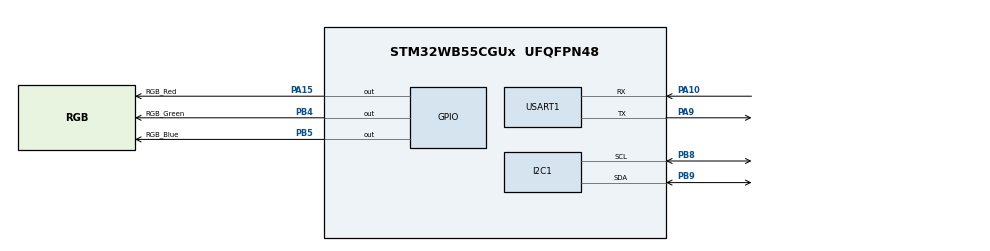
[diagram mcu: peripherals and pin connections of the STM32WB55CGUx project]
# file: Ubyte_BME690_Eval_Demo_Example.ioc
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I2C1.Timing=0x00100D14
Mcu.Family=STM32WB
Mcu.Name=STM32WB55CGUx
Mcu.Package=UFQFPN48
NVIC.PriorityGroup=NVIC_PRIORITYGROUP_4
PA10.Mode=Asynchronous
PA10.Signal=USART1_RX
PA15.GPIO_Label=RGB_Red
PA15.Signal=GPIO_Output
PA9.Mode=Asynchronous
PA9.Signal=USART1_TX
PB4.GPIO_Label=RGB_Green
PB4.Signal=GPIO_Output
PB5.GPIO_Label=RGB_Blue
PB5.Signal=GPIO_Output
PB8.Mode=I2C
PB8.Signal=I2C1_SCL
PB9.Mode=I2C
PB9.Signal=I2C1_SDA
ProjectManager.HeapSize=0x200
ProjectManager.StackSize=0x400
ProjectManager.TargetToolchain=STM32CubeIDE
RCC.APB3Freq_Value=16000000
RCC.HSE_VALUE=8000000
RCC.HSI48_VALUE=48000000
RCC.HSI_VALUE=16000000
RCC.LSE_VALUE=32768
RCC.VCOOutputFreq_Value=32000000
USART1.VirtualMode-Asynchronous=VM_ASYNC
VP_MEMORYMAP_VS_MEMORYMAP.Mode=CurAppReg
board=custom

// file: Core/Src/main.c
/* USER CODE BEGIN Header */

//This stamp code is made by Rohit Maurya (Embedded Software Developer at Ubyte Consulting).
//This code demonstrates all the parameters that can be read from the Bosch BME690 Sensor on the Ubyte BME690 Evaluation Board connected to Ubyte STM32WB55CGU6 Development Board

/* USER CODE END Header */
#include "main.h"

/* USER CODE BEGIN Includes */
#include <stdio.h>
#include "bme69x.h"
/* USER CODE END Includes */

I2C_HandleTypeDef hi2c1;

UART_HandleTypeDef huart1;

/* USER CODE BEGIN PV */

// Variables to store readings from the Gas Sensor
float temperature_c;
float humidity_percent;
float pressure_pa;
float pressure_hpa;
float gas_resistance_ohms;
uint32_t gas_valid;
uint32_t heater_stable;

/* USER CODE END PV */

void SystemClock_Config(void);
void PeriphCommonClock_Config(void);
static void MX_GPIO_Init(void);
static void MX_I2C1_Init(void);
static void MX_USART1_UART_Init(void);

/* USER CODE BEGIN 0 */
#ifdef __GNUC__
#define PUTCHAR_PROTOTYPE int __io_putchar(int ch)
#else
#define PUTCHAR_PROTOTYPE int fputc(int ch, FILE *f)
#endif

PUTCHAR_PROTOTYPE {
  HAL_UART_Transmit(&huart1, (uint8_t *)&ch, 1, HAL_MAX_DELAY); // Change huart1 to hlpuart1 if needed
  return ch;
}

// 2. Bosch API I2C Read Wrapper
BME69X_INTF_RET_TYPE bme69x_i2c_read(uint8_t reg_addr, uint8_t *reg_data, uint32_t len, void *intf_ptr) {
    uint8_t dev_addr = *(uint8_t*)intf_ptr;
    // HAL requires the 7-bit address to be shifted left by 1
    if (HAL_I2C_Mem_Read(&hi2c1, (dev_addr << 1), reg_addr, I2C_MEMADD_SIZE_8BIT, reg_data, len, 1000) == HAL_OK) {
        return BME69X_OK;
    }
    return BME69X_E_COM_FAIL;
}

// 3. Bosch API I2C Write Wrapper
BME69X_INTF_RET_TYPE bme69x_i2c_write(uint8_t reg_addr, const uint8_t *reg_data, uint32_t len, void *intf_ptr) {
    uint8_t dev_addr = *(uint8_t*)intf_ptr;
    if (HAL_I2C_Mem_Write(&hi2c1, (dev_addr << 1), reg_addr, I2C_MEMADD_SIZE_8BIT, (uint8_t*)reg_data, len, 1000) == HAL_OK) {
        return BME69X_OK;
    }
    return BME69X_E_COM_FAIL;
}

// 4. Bosch API Delay Wrapper (Converts Microseconds to Milliseconds for HAL)
void bme69x_delay_us(uint32_t period, void *intf_ptr) {
    HAL_Delay((period / 1000) + 1); // Round up to ensure minimum delay is met
}
/* USER CODE END 0 */

int main(void)
{

  /* MCU Configuration--------------------------------------------------------*/

  /* Reset of all peripherals, Initializes the Flash interface and the Systick. */
  HAL_Init();

  /* Configure the system clock */
  SystemClock_Config();

  /* Configure the peripherals common clocks */
  PeriphCommonClock_Config();

  /* Initialize all configured peripherals */
  MX_GPIO_Init();
  MX_I2C1_Init();
  MX_USART1_UART_Init();
  /* USER CODE BEGIN 2 */

  // Setting the Default state of the RGB LED to off
  HAL_GPIO_WritePin(GPIOA, GPIO_PIN_15, 1);
  HAL_GPIO_WritePin(GPIOB, GPIO_PIN_4, 1);
  HAL_GPIO_WritePin(GPIOB, GPIO_PIN_5, 1);

  printf("\r\n--- BME690 Sensor Initialization ---\r\n");

    struct bme69x_dev bme;
    struct bme69x_conf conf;
    struct bme69x_heatr_conf heatr_conf;
    struct bme69x_data data;

    uint8_t dev_addr = BME69X_I2C_ADDR_LOW; // Use BME69X_I2C_ADDR_HIGH (0x77) if SDO is tied to 3.3V
    uint32_t del_period;
    uint8_t n_fields;

    // Link our wrapper functions to the Bosch API
    bme.intf_ptr = &dev_addr;
    bme.intf = BME69X_I2C_INTF;
    bme.read = bme69x_i2c_read;
    bme.write = bme69x_i2c_write;
    bme.delay_us = bme69x_delay_us;
    bme.amb_temp = 25; // Default ambient temp for calibration

    // Initialize the sensor
    int8_t rslt = bme69x_init(&bme);
    if (rslt != BME69X_OK) {
        printf("Failed to initialize BME690. Error code: %d\r\n", rslt);
        HAL_GPIO_WritePin(GPIOA, GPIO_PIN_15, 0); //Turn on the Green LED to indicate that the sensor is initialized successfully
        while(1); // Halt the code. The user needs to reset the controller in order to re-initialize the sensor
    }
    printf("Sensor initialized successfully!\r\n");

    HAL_GPIO_WritePin(GPIOB, GPIO_PIN_4, 0);//Turn on the Red LED to indicate fault

    // Configure Oversampling and Filter settings
    conf.filter = BME69X_FILTER_SIZE_3;
    conf.odr = BME69X_ODR_NONE;
    conf.os_hum = BME69X_OS_2X;
    conf.os_pres = BME69X_OS_4X;
    conf.os_temp = BME69X_OS_8X;
    bme69x_set_conf(&conf, &bme);

    // Configure the Gas Heater (300°C for 100ms is standard for general gas profiling)
    heatr_conf.enable = BME69X_ENABLE;
    heatr_conf.heatr_temp = 300;
    heatr_conf.heatr_dur = 100;
    bme69x_set_heatr_conf(BME69X_FORCED_MODE, &heatr_conf, &bme);
  /* USER CODE END 2 */

  /* Infinite loop */
  while (1)
  {

    /* USER CODE BEGIN 3 */

	    bme69x_set_heatr_conf(BME69X_FORCED_MODE, &heatr_conf, &bme);
	  // 1. Trigger a measurement in Forced Mode
	        rslt = bme69x_set_op_mode(BME69X_FORCED_MODE, &bme);

	        // 2. Calculate measurement time and ADD 10,000 microseconds (10ms) of padding
	        del_period = bme69x_get_meas_dur(BME69X_FORCED_MODE, &conf, &bme) + (heatr_conf.heatr_dur * 1000);
	        bme.delay_us(del_period + 10000, bme.intf_ptr); // The extra 10ms guarantees it finishes

	        // 3. Read the compensated data
	              rslt = bme69x_get_data(BME69X_FORCED_MODE, &data, &n_fields, &bme);

	              if (rslt == BME69X_OK && n_fields > 0) {

	                  // Check if ANY new data (Temp/Press/Hum) is ready (Status 0x80)
	                  if (data.status & BME69X_NEW_DATA_MSK) {

	                	  // Store standard environmental data in variables to read in live expression
	                	  temperature_c = data.temperature;
	                	  humidity_percent = data.humidity;
	                	  pressure_pa = data.pressure;
	                	  pressure_hpa = data.pressure / 100.0f;

	                	  // Print the standard environmental data over UART
	                      printf("Temp: %.2f *C | Press: %.2f hPa | Hum: %.2f %% | ",
	                             data.temperature,
	                             data.pressure / 100.0,
	                             data.humidity);

	                      // Check specifically if the Gas data is also ready
	                      if ((data.status & BME69X_GASM_VALID_MSK) && (data.status & BME69X_HEAT_STAB_MSK)) {

	                    	  // Store heater status and gas resistance status in variables to read in live expression
	                    	  gas_valid = (data.status & BME69X_GASM_VALID_MSK) ? 1 : 0;
	                    	  heater_stable = (data.status & BME69X_HEAT_STAB_MSK) ? 1 : 0;

	                    	  // Store gas resistance data in variables to read in live expression
	                    	  gas_resistance_ohms = data.gas_resistance;

	                    	  // Print the gas resistance data over UART
	                    	  printf("Gas Res: %.2f Ohms\r\n", data.gas_resistance);
	                      } else {
	                          printf("Gas: Heater Disabled / Warming Up\r\n");
	                      }

	                  } else {
	                      printf("Waiting for sensor data...\r\n");
	                  }

	              } else {
	                  printf("Failed to read data. Check I2C wiring!\r\n");
	              }

	        HAL_Delay(2000); // Wait 2 seconds before the next reading
  }
  /* USER CODE END 3 */
}

void SystemClock_Config(void)
{
  RCC_OscInitTypeDef RCC_OscInitStruct = {0};
  RCC_ClkInitTypeDef RCC_ClkInitStruct = {0};

  /** Configure the main internal regulator output voltage
  */
  __HAL_PWR_VOLTAGESCALING_CONFIG(PWR_REGULATOR_VOLTAGE_SCALE1);

  /** Initializes the RCC Oscillators according to the specified parameters
  * in the RCC_OscInitTypeDef structure.
  */
  RCC_OscInitStruct.OscillatorType = RCC_OSCILLATORTYPE_HSI|RCC_OSCILLATORTYPE_MSI;
  RCC_OscInitStruct.HSIState = RCC_HSI_ON;
  RCC_OscInitStruct.MSIState = RCC_MSI_ON;
  RCC_OscInitStruct.HSICalibrationValue = RCC_HSICALIBRATION_DEFAULT;
  RCC_OscInitStruct.MSICalibrationValue = RCC_MSICALIBRATION_DEFAULT;
  RCC_OscInitStruct.MSIClockRange = RCC_MSIRANGE_6;
  RCC_OscInitStruct.PLL.PLLState = RCC_PLL_NONE;
  if (HAL_RCC_OscConfig(&RCC_OscInitStruct) != HAL_OK)
  {
    Error_Handler();
  }

  /** Configure the SYSCLKSource, HCLK, PCLK1 and PCLK2 clocks dividers
  */
  RCC_ClkInitStruct.ClockType = RCC_CLOCKTYPE_HCLK4|RCC_CLOCKTYPE_HCLK2
                              |RCC_CLOCKTYPE_HCLK|RCC_CLOCKTYPE_SYSCLK
                              |RCC_CLOCKTYPE_PCLK1|RCC_CLOCKTYPE_PCLK2;
  RCC_ClkInitStruct.SYSCLKSource = RCC_SYSCLKSOURCE_MSI;
  RCC_ClkInitStruct.AHBCLKDivider = RCC_SYSCLK_DIV1;
  RCC_ClkInitStruct.APB1CLKDivider = RCC_HCLK_DIV1;
  RCC_ClkInitStruct.APB2CLKDivider = RCC_HCLK_DIV1;
  RCC_ClkInitStruct.AHBCLK2Divider = RCC_SYSCLK_DIV1;
  RCC_ClkInitStruct.AHBCLK4Divider = RCC_SYSCLK_DIV1;

  if (HAL_RCC_ClockConfig(&RCC_ClkInitStruct, FLASH_LATENCY_0) != HAL_OK)
  {
    Error_Handler();
  }
}

void PeriphCommonClock_Config(void)
{
  RCC_PeriphCLKInitTypeDef PeriphClkInitStruct = {0};

  /** Initializes the peripherals clock
  */
  PeriphClkInitStruct.PeriphClockSelection = RCC_PERIPHCLK_SMPS;
  PeriphClkInitStruct.SmpsClockSelection = RCC_SMPSCLKSOURCE_HSI;
  PeriphClkInitStruct.SmpsDivSelection = RCC_SMPSCLKDIV_RANGE1;

  if (HAL_RCCEx_PeriphCLKConfig(&PeriphClkInitStruct) != HAL_OK)
  {
    Error_Handler();
  }
}

static void MX_I2C1_Init(void)
{

  hi2c1.Instance = I2C1;
  hi2c1.Init.Timing = 0x00100D14;
  hi2c1.Init.OwnAddress1 = 0;
  hi2c1.Init.AddressingMode = I2C_ADDRESSINGMODE_7BIT;
  hi2c1.Init.DualAddressMode = I2C_DUALADDRESS_DISABLE;
  hi2c1.Init.OwnAddress2 = 0;
  hi2c1.Init.OwnAddress2Masks = I2C_OA2_NOMASK;
  hi2c1.Init.GeneralCallMode = I2C_GENERALCALL_DISABLE;
  hi2c1.Init.NoStretchMode = I2C_NOSTRETCH_DISABLE;
  if (HAL_I2C_Init(&hi2c1) != HAL_OK)
  {
    Error_Handler();
  }

  /** Configure Analogue filter
  */
  if (HAL_I2CEx_ConfigAnalogFilter(&hi2c1, I2C_ANALOGFILTER_ENABLE) != HAL_OK)
  {
    Error_Handler();
  }

  /** Configure Digital filter
  */
  if (HAL_I2CEx_ConfigDigitalFilter(&hi2c1, 0) != HAL_OK)
  {
    Error_Handler();
  }

}

static void MX_USART1_UART_Init(void)
{

  huart1.Instance = USART1;
  huart1.Init.BaudRate = 115200;
  huart1.Init.WordLength = UART_WORDLENGTH_8B;
  huart1.Init.StopBits = UART_STOPBITS_1;
  huart1.Init.Parity = UART_PARITY_NONE;
  huart1.Init.Mode = UART_MODE_TX_RX;
  huart1.Init.HwFlowCtl = UART_HWCONTROL_NONE;
  huart1.Init.OverSampling = UART_OVERSAMPLING_16;
  huart1.Init.OneBitSampling = UART_ONE_BIT_SAMPLE_DISABLE;
  huart1.Init.ClockPrescaler = UART_PRESCALER_DIV1;
  huart1.AdvancedInit.AdvFeatureInit = UART_ADVFEATURE_NO_INIT;
  if (HAL_UART_Init(&huart1) != HAL_OK)
  {
    Error_Handler();
  }
  if (HAL_UARTEx_SetTxFifoThreshold(&huart1, UART_TXFIFO_THRESHOLD_1_8) != HAL_OK)
  {
    Error_Handler();
  }
  if (HAL_UARTEx_SetRxFifoThreshold(&huart1, UART_RXFIFO_THRESHOLD_1_8) != HAL_OK)
  {
    Error_Handler();
  }
  if (HAL_UARTEx_DisableFifoMode(&huart1) != HAL_OK)
  {
    Error_Handler();
  }

}

static void MX_GPIO_Init(void)
{
  GPIO_InitTypeDef GPIO_InitStruct = {0};

  /* GPIO Ports Clock Enable */
  __HAL_RCC_GPIOB_CLK_ENABLE();
  __HAL_RCC_GPIOA_CLK_ENABLE();

  /*Configure GPIO pin Output Level */
  HAL_GPIO_WritePin(RGB_Red_GPIO_Port, RGB_Red_Pin, GPIO_PIN_RESET);

  /*Configure GPIO pin Output Level */
  HAL_GPIO_WritePin(GPIOB, RGB_Green_Pin|RGB_Blue_Pin, GPIO_PIN_RESET);

  /*Configure GPIO pin : RGB_Red_Pin */
  GPIO_InitStruct.Pin = RGB_Red_Pin;
  GPIO_InitStruct.Mode = GPIO_MODE_OUTPUT_PP;
  GPIO_InitStruct.Pull = GPIO_NOPULL;
  GPIO_InitStruct.Speed = GPIO_SPEED_FREQ_LOW;
  HAL_GPIO_Init(RGB_Red_GPIO_Port, &GPIO_InitStruct);

  /*Configure GPIO pins : RGB_Green_Pin RGB_Blue_Pin */
  GPIO_InitStruct.Pin = RGB_Green_Pin|RGB_Blue_Pin;
  GPIO_InitStruct.Mode = GPIO_MODE_OUTPUT_PP;
  GPIO_InitStruct.Pull = GPIO_NOPULL;
  GPIO_InitStruct.Speed = GPIO_SPEED_FREQ_LOW;
  HAL_GPIO_Init(GPIOB, &GPIO_InitStruct);

}

void Error_Handler(void)
{
  __disable_irq();
  while (1)
  {
  }
}
